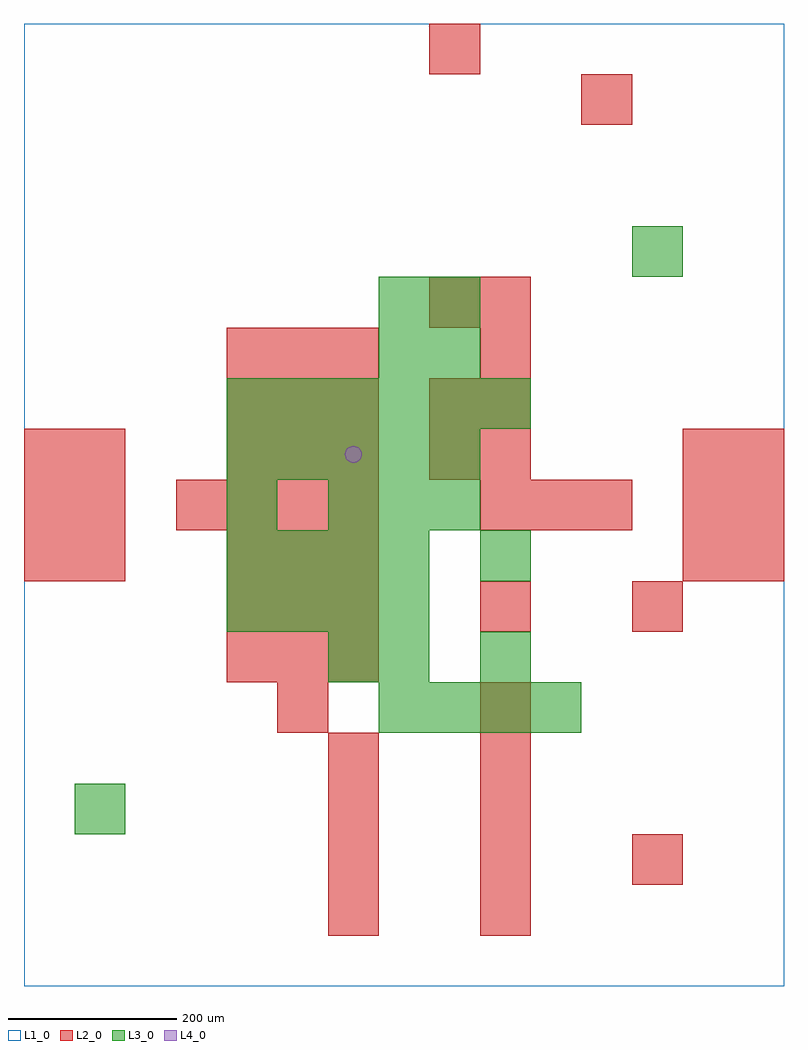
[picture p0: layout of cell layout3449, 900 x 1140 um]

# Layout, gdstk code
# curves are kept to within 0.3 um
import gdstk
lib = gdstk.Library(unit=1e-6, precision=1e-09)
def R(c, l, rs):  # rectangles x0, y0, x1, y1
    for r in rs: c.add(gdstk.rectangle(r[:2], r[2:], *l))
def A(c, l, x, y, w, h, nx, ny, dx, dy):  # array of equal rectangles
    R(c, l, [(x+i*dx, y+j*dy, x+i*dx+w, y+j*dy+h) for i in range(nx) for j in range(ny)])
def P(c, l, *ps):  # polygons
    for p in ps: c.add(gdstk.Polygon(p, *l))
L1_0 = (1, 0)
L2_0 = (2, 0)
L3_0 = (3, 0)
L4_0 = (4, 0)

layout3449 = lib.new_cell('layout3449')
R(layout3449, L1_0, [(0,0,900,1140)])
A(layout3449, L2_0, 360, 120, 60, 60, 3, 1, 180, 0)
A(layout3449, L2_0, 540, 180, 60, 60, 1, 3, 0, 60)
A(layout3449, L2_0, 240, 360, 60, 60, 3, 3, 60, 60)
A(layout3449, L2_0, 0, 480, 60, 60, 1, 3, 0, 60)
A(layout3449, L2_0, 60, 480, 60, 60, 1, 3, 0, 60)
A(layout3449, L2_0, 780, 480, 60, 60, 1, 3, 0, 60)
A(layout3449, L2_0, 840, 480, 60, 60, 1, 3, 0, 60)
A(layout3449, L2_0, 180, 540, 60, 60, 4, 1, 60, 0)
A(layout3449, L2_0, 540, 540, 60, 60, 3, 1, 60, 0)
A(layout3449, L2_0, 240, 600, 60, 60, 3, 3, 60, 60)
A(layout3449, L2_0, 540, 600, 60, 60, 1, 4, 0, 60)
R(layout3449, L2_0, [(360,60,420,120), (540,60,600,120), (360,180,420,240), (360,240,420,300), (300,300,360,360), (540,420,600,480), (720,420,780,480), (480,600,540,660), (480,660,540,720), (480,780,540,840), (660,1020,720,1080), (480,1080,540,1140)])
A(layout3449, L3_0, 420, 300, 60, 60, 4, 1, 60, 0)
A(layout3449, L3_0, 240, 420, 60, 60, 4, 2, 60, 60)
A(layout3449, L3_0, 360, 540, 60, 60, 3, 1, 60, 0)
A(layout3449, L3_0, 240, 600, 60, 60, 5, 1, 60, 0)
A(layout3449, L3_0, 240, 660, 60, 60, 6, 1, 60, 0)
R(layout3449, L3_0, [(60,180,120,240), (360,360,420,420), (420,360,480,420), (540,360,600,420), (540,480,600,540), (240,540,300,600), (420,720,480,780), (480,720,540,780), (420,780,480,840), (480,780,540,840), (720,840,780,900)])
P(layout3449, L4_0, [(400,630),(399.239,633.827),(397.071,637.071),(393.827,639.239),(390,640),(386.173,639.239),(382.929,637.071),(380.761,633.827),(380,630),(380.761,626.173),(382.929,622.929),(386.173,620.761),(390,620),(393.827,620.761),(397.071,622.929),(399.239,626.173)])

lib.write_gds('layout3449.gds')
